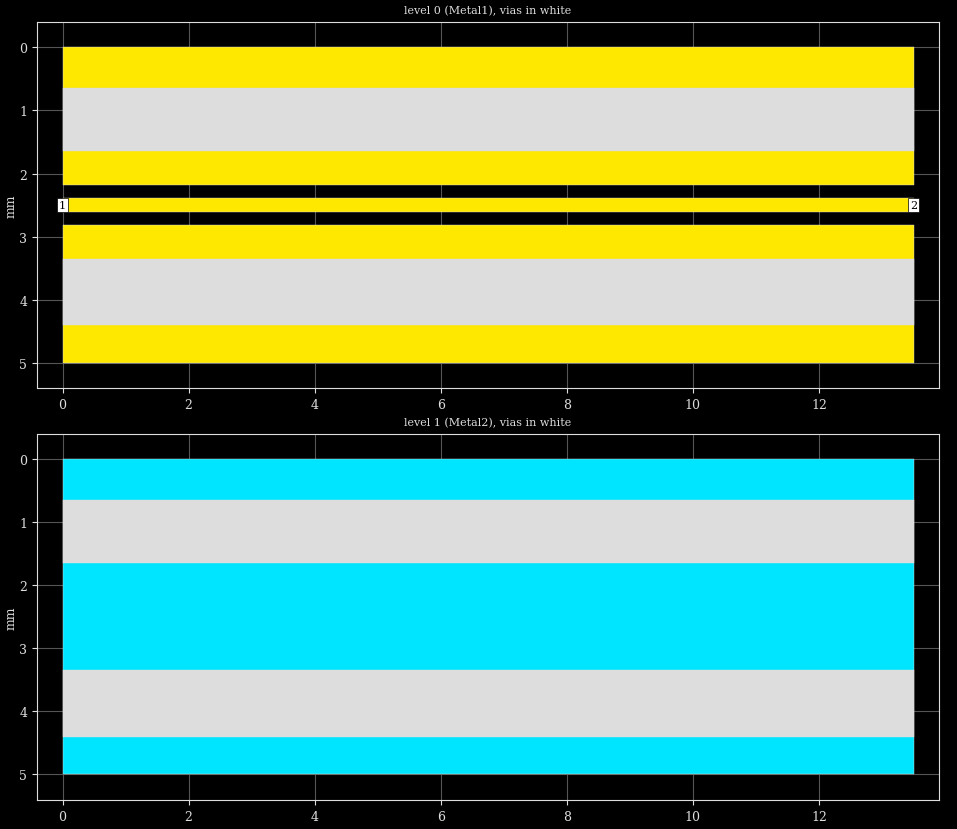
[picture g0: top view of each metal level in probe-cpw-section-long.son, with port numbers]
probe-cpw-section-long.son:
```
FTYP SONPROJ 18 ! Sonnet Project File
VER 17.56
HEADER
LIC antikernel2.1.48685 90e2ba8817c0 havequick azonenberg Level2Basic
DAT 10/20/2020 20:01:49
BUILT_BY_CREATED xgeom 16.56 07/03/2018 15:05:41
BUILT_BY_SAVED sonnet 17.56
MDATE 10/02/2020 18:40:27
HDATE 10/02/2020 18:40:27
END HEADER
DIM
ANG DEG
CAP PF
CON /OH
FREQ GHZ
IND NH
LNG MM
RES OH
END DIM
CONTROL
VARSWP
OPTIONS  -dj
SPEED 1
CACHE_ABS 1
Q_ACC N
END CONTROL
GEO
SYM
TMET "Free Space" 0 FREESPACE 376.7303136 0 0 0
BMET "Free Space" 0 FREESPACE 376.7303136 0 0 0
MET "Silver" 1 TMM 61700000 0.5 0.035 3
MET "Copper 1oz thick" 2 TMM 58000000 0.5 0.035 3
MET "Copper 1oz thin" 1 NOR 58000000 0.5 0.035 
BOX 2 13.5 5 216 800 20 0
      1 1 1 0 0 0 0 "Air"
      0.102 3.2 1 0.002 0 0 0 "Panasonic F775"
      1 1 1 0 0 0 0 "Air"
TECHLAY METAL Metal1 <UNSPECIFIED> -2 0 
0 0 1 N 960 1 1 100 100 0 0 0 Y
END
END
TECHLAY METAL Metal2 <UNSPECIFIED> -3 0 
1 0 2 N 965 1 1 100 100 0 0 0 Y
END
END
DIM STD YDIR -1
POS -0.3256573327 -1.084628238
NOM 0.225
REF1 POLY 939 1
3
REF2 POLY 939 1
0
END
DIM STD YDIR -1
POS -0.04296321145 -0.7611463874
NOM 0.2
REF1 POLY 939 1
0
REF2 POLY 942 1
3
END
DIM STD YDIR -1
POS -0.2098150988 -0.4209235475
NOM 0.2
REF1 POLY 943 1
0
REF2 POLY 939 1
3
END
LORGN 0 250 U 
POR1 BOX
POLY 939 1
1
2 50 0 0 0 13.5 2.5 
POR1 BOX
POLY 939 1
3
1 50 0 0 0 0 2.5 
NUM 6
0 5 1 N 939 1 1 100 100 0 0 0 Y
TLAYNAM Metal1 INH
0 2.3875
13.5 2.3875
13.5 2.6125
0 2.6125
0 2.3875
END
0 5 1 N 942 1 1 100 100 0 0 0 Y
TLAYNAM Metal1 INH
0 0
13.5 0
13.5 2.1875
0 2.1875
0 0
END
0 5 1 N 943 1 1 100 100 0 0 0 Y
TLAYNAM Metal1 INH
0 2.8125
13.5 2.8125
13.5 5
0 5
0 2.8125
END
VIA POLYGON
0 5 -1 N 944 1 1 100 100 0 0 0 Y
TOLEVEL 1 RING NOCOVERS
0 0.65
13.5 0.65
13.5 1.65
0 1.65
0 0.65
END
VIA POLYGON
0 5 -1 N 945 1 1 100 100 0 0 0 Y
TOLEVEL 1 RING NOCOVERS
0 3.35
13.5 3.35
13.5 4.4
0 4.4
0 3.35
END
1 5 2 N 948 1 1 100 100 0 0 0 Y
TLAYNAM Metal2 INH
0 0
13.5 0
13.5 5
0 5
0 0
END
END GEO
OPT
MAX 100
END OPT
VARSWP
ENABLED Y
FREQ Y AY ABS_ENTRY 0.1 6.0 -1 300 
END
END VARSWP
FILEOUT
FOLDER .
END FILEOUT
```
